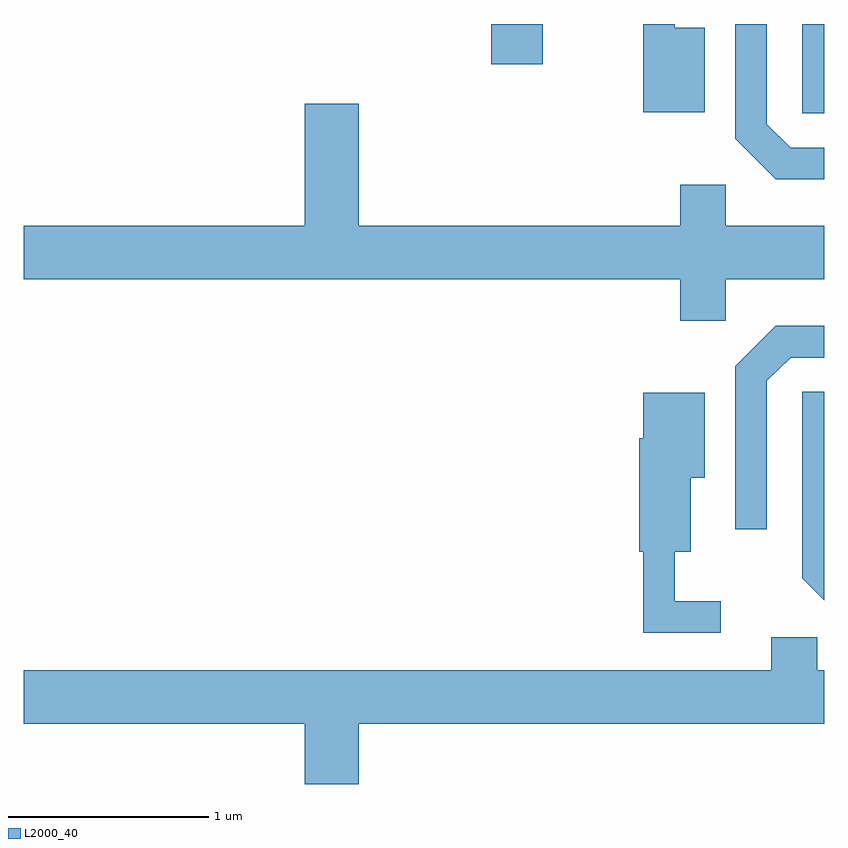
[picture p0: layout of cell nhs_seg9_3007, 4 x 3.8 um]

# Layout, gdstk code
import gdstk
lib = gdstk.Library(unit=1e-6, precision=1e-09)
def R(c, l, rs):  # rectangles x0, y0, x1, y1
    for r in rs: c.add(gdstk.rectangle(r[:2], r[2:], *l))
def P(c, l, *ps):  # polygons
    for p in ps: c.add(gdstk.Polygon(p, *l))
L2000_40 = (2000, 40)

nhs_seg9_3007 = lib.new_cell('nhs_seg9_3007')
R(nhs_seg9_3007, L2000_40, [(277.501,1985.986,277.611,1986.432), (275.946,1986.231,276.204,1986.432)])
P(nhs_seg9_3007, L2000_40, [(277.014,1986.414),(276.864,1986.414),(276.864,1986.432),(276.706,1986.432),(276.706,1985.991),(277.014,1985.991)],
  [(277.611,1985.814),(277.442,1985.814),(277.324,1985.932),(277.324,1986.432),(277.166,1986.432),(277.166,1985.859),(277.369,1985.656),(277.611,1985.656)],
  [(277.119,1985.156),(277.611,1985.156),(277.611,1985.424),(277.119,1985.424),(277.119,1985.629),(276.891,1985.629),(276.891,1985.424),(275.284,1985.424),(275.284,1986.034),(275.016,1986.034),(275.016,1985.424),(273.611,1985.424),(273.611,1985.156),(276.891,1985.156),(276.891,1984.951),(277.119,1984.951)],
  [(277.324,1984.649),(277.442,1984.766),(277.611,1984.766),(277.611,1984.924),(277.369,1984.924),(277.166,1984.722),(277.166,1983.908),(277.324,1983.908)],
  [(277.611,1984.594),(277.501,1984.594),(277.501,1983.664),(277.611,1983.554)],
  [(277.093,1983.549),(276.864,1983.549),(276.864,1983.796),(276.944,1983.796),(276.944,1984.166),(277.014,1984.166),(277.014,1984.589),(276.706,1984.589),(276.706,1984.364),(276.686,1984.364),(276.686,1983.796),(276.706,1983.796),(276.706,1983.391),(277.093,1983.391)],
  [(273.611,1982.936),(275.016,1982.936),(275.016,1982.636),(275.284,1982.636),(275.284,1982.936),(277.611,1982.936),(277.611,1983.204),(277.574,1983.204),(277.574,1983.369),(277.346,1983.369),(277.346,1983.204),(273.611,1983.204)])

lib.write_gds('nhs_seg9_3007.gds')
